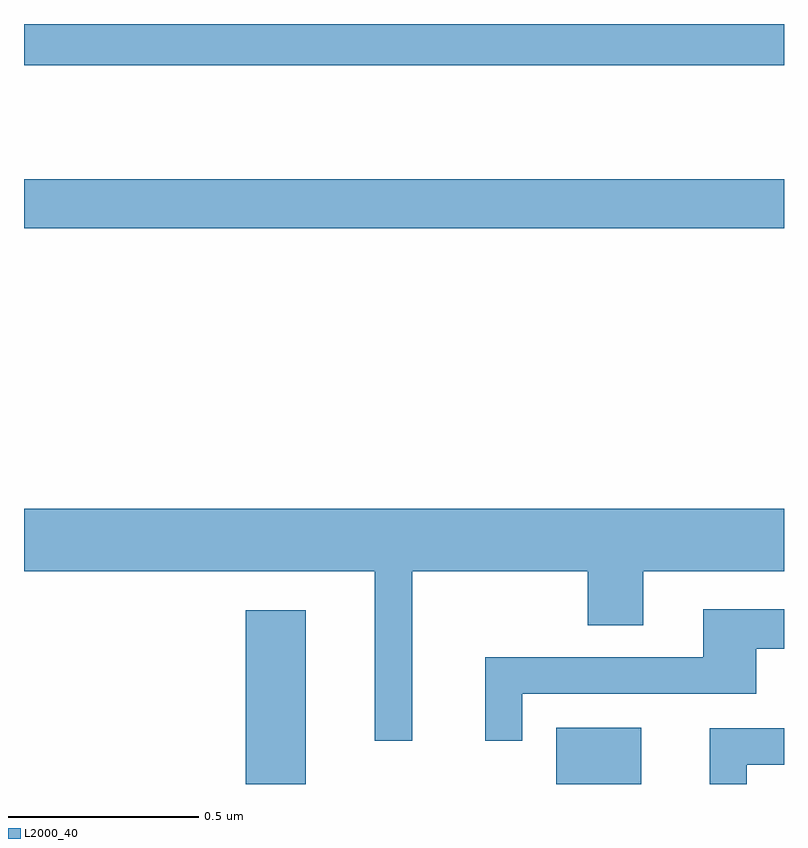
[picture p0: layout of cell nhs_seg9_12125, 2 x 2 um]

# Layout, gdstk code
import gdstk
lib = gdstk.Library(unit=1e-6, precision=1e-09)
def R(c, l, rs):  # rectangles x0, y0, x1, y1
    for r in rs: c.add(gdstk.rectangle(r[:2], r[2:], *l))
def P(c, l, *ps):  # polygons
    for p in ps: c.add(gdstk.Polygon(p, *l))
L2000_40 = (2000, 40)

nhs_seg9_12125 = lib.new_cell('nhs_seg9_12125')
R(nhs_seg9_12125, L2000_40, [(264.584,1222.5,264.742,1222.957), (265.4,1222.5,265.624,1222.648), (264,1223.962,266,1224.091), (264,1224.392,266,1224.5)])
P(nhs_seg9_12125, L2000_40, [(265.022,1223.06),(265.483,1223.06),(265.483,1222.918),(265.63,1222.918),(265.63,1223.06),(266,1223.06),(266,1223.224),(264,1223.224),(264,1223.06),(264.923,1223.06),(264.923,1222.614),(265.022,1222.614)],
  [(265.311,1222.737),(265.927,1222.737),(265.927,1222.856),(266,1222.856),(266,1222.96),(265.787,1222.96),(265.787,1222.833),(265.214,1222.833),(265.214,1222.614),(265.311,1222.614)],
  [(265.902,1222.551),(266,1222.551),(266,1222.647),(265.805,1222.647),(265.805,1222.5),(265.902,1222.5)])

lib.write_gds('nhs_seg9_12125.gds')
